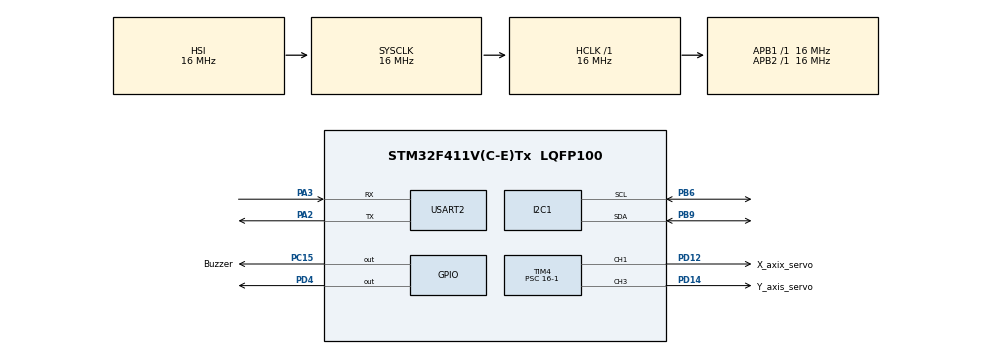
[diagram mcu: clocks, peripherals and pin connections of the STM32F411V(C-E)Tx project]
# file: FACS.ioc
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Mcu.Family=STM32F4
Mcu.Name=STM32F411V(C-E)Tx
Mcu.Package=LQFP100
NVIC.PriorityGroup=NVIC_PRIORITYGROUP_4
PA2.Mode=Asynchronous
PA2.Signal=USART2_TX
PA3.Mode=Asynchronous
PA3.Signal=USART2_RX
PB6.Mode=I2C
PB6.Signal=I2C1_SCL
PB9.Mode=I2C
PB9.Signal=I2C1_SDA
PC15-OSC32_OUT.GPIO_Label=Buzzer
PC15-OSC32_OUT.Signal=GPIO_Output
PD12.GPIO_Label=X_axix_servo
PD12.Signal=S_TIM4_CH1
PD14.GPIO_Label=Y_axis_servo
PD14.Signal=S_TIM4_CH3
PD4.Signal=GPIO_Output
ProjectManager.HeapSize=0x200
ProjectManager.StackSize=0x400
ProjectManager.TargetToolchain=STM32CubeIDE
RCC.AHBFreq_Value=16000000
RCC.APB1Freq_Value=16000000
RCC.APB2Freq_Value=16000000
RCC.CortexFreq_Value=16000000
RCC.HSE_VALUE=25000000
RCC.HSI_VALUE=16000000
RCC.LSE_VALUE=32768
RCC.SYSCLKFreq_VALUE=16000000
RCC.VCOOutputFreq_Value=192000000
SH.S_TIM4_CH1.0=TIM4_CH1,PWM Generation1 CH1
SH.S_TIM4_CH3.0=TIM4_CH3,PWM Generation3 CH3
TIM4.Channel-PWM\ Generation1\ CH1=TIM_CHANNEL_1
TIM4.Channel-PWM\ Generation3\ CH3=TIM_CHANNEL_3
TIM4.Period=20000-1
TIM4.Prescaler=16-1
USART2.VirtualMode=VM_ASYNC
VP_TIM4_VS_ClockSourceINT.Mode=Internal
board=custom

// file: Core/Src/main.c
/* USER CODE BEGIN Header */
/**
  ******************************************************************************
  * @file           : main.c
  * @brief          : Main program body
  ******************************************************************************
  * @attention
  *
  * Copyright (c) 2026 STMicroelectronics.
  * All rights reserved.
  *
  * This software is licensed under terms that can be found in the LICENSE file
  * in the root directory of this software component.
  * If no LICENSE file comes with this software, it is provided AS-IS.
  *
  ******************************************************************************
  */
/* USER CODE END Header */
#include "main.h"

/* USER CODE BEGIN Includes */
#include "servo.h"
#include "sensor.h"
#include "tilt.h"
#include <stdio.h>
#include <math.h>
/* USER CODE END Includes */

I2C_HandleTypeDef hi2c1;

TIM_HandleTypeDef htim4;

UART_HandleTypeDef huart2;

void SystemClock_Config(void);
static void MX_GPIO_Init(void);
static void MX_TIM4_Init(void);
static void MX_USART2_UART_Init(void);
static void MX_I2C1_Init(void);

/* USER CODE BEGIN 0 */
typedef enum {
	STATE_INIT,
	STATE_CALIBRATE,
	STATE_RUN,
	STATE_ERROR
} SystemState_t;
/* USER CODE END 0 */

int main(void)
{

  /* MCU Configuration--------------------------------------------------------*/

  /* Reset of all peripherals, Initializes the Flash interface and the Systick. */
  HAL_Init();

  /* Configure the system clock */
  SystemClock_Config();

  /* Initialize all configured peripherals */
  MX_GPIO_Init();
  MX_TIM4_Init();
  MX_USART2_UART_Init();
  MX_I2C1_Init();

  /* USER CODE BEGIN 2 */
  HAL_TIM_PWM_Start(&htim4, TIM_CHANNEL_1); // PWM signal enable on pin PD12
  HAL_TIM_PWM_Start(&htim4, TIM_CHANNEL_3); // PWM signal enable on pin PD14

  HAL_GPIO_WritePin(GPIOD, GPIO_PIN_4, GPIO_PIN_RESET); // Keep reset audio peripherals on I2C1 line
  HAL_Delay(100);
  HAL_GPIO_WritePin(GPIOC, GPIO_PIN_15, GPIO_PIN_RESET);

  SystemState_t currentState = STATE_INIT;
  float offset_pitch = 0.0f;
  float offset_roll = 0.0f;

  int16_t ax, ay, az;

  /* USER CODE END 2 */

  /* Infinite loop */
  /* USER CODE BEGIN WHILE */

  while (1)
  {
	 switch (currentState){
	 case STATE_INIT:

		 HAL_GPIO_WritePin(GPIOC, GPIO_PIN_15, GPIO_PIN_SET);
		 HAL_Delay(250);
		 HAL_GPIO_WritePin(GPIOC, GPIO_PIN_15, GPIO_PIN_RESET);
		 HAL_Delay(250);
		 HAL_GPIO_WritePin(GPIOC, GPIO_PIN_15, GPIO_PIN_SET);
		 HAL_Delay(250);
		 HAL_GPIO_WritePin(GPIOC, GPIO_PIN_15, GPIO_PIN_RESET);
		 HAL_Delay(200);

		 if (SensorInit() == 0){
			 currentState = STATE_CALIBRATE;
		 } else {
			 currentState = STATE_ERROR;
		 }
		 HAL_Delay(50);
		 break;

	 case STATE_CALIBRATE:
		 HAL_Delay(2000);

		 HAL_GPIO_WritePin(GPIOC, GPIO_PIN_15, GPIO_PIN_SET);
		 HAL_Delay(250);
		 HAL_GPIO_WritePin(GPIOC, GPIO_PIN_15, GPIO_PIN_RESET);
		 HAL_Delay(250);
		 HAL_GPIO_WritePin(GPIOC, GPIO_PIN_15, GPIO_PIN_SET);
		 HAL_Delay(250);
		 HAL_GPIO_WritePin(GPIOC, GPIO_PIN_15, GPIO_PIN_RESET);
		 HAL_Delay(250);
		 HAL_GPIO_WritePin(GPIOC, GPIO_PIN_15, GPIO_PIN_SET);
		 HAL_Delay(250);
		 HAL_GPIO_WritePin(GPIOC, GPIO_PIN_15, GPIO_PIN_RESET);
		 HAL_Delay(250);

		 SetServoAngle(AXIS_X, 90.0f);
		 SetServoAngle(AXIS_Y, 90.0f);
		 HAL_Delay(2000);

		 float sum_x = 0, sum_y = 0;
		 int samples = 50;

		 for (int i = 0; i < samples; i++){
			 if (SensorReadAccel(&ax, &ay, &az) == 0){
				 sum_x += atan2(ax, sqrt(ay*ay + az*az)) * 180.0f / M_PI;
				 sum_y += atan2(ay, sqrt(ax*ax + az*az)) * 180.0f / M_PI;
			 }
			 HAL_Delay(50);
		 }
		 offset_pitch = sum_x / samples;
		 offset_roll = sum_y / samples;

		 currentState = STATE_RUN;

		 HAL_GPIO_WritePin(GPIOC, GPIO_PIN_15, GPIO_PIN_SET);
		 HAL_Delay(1500);
		 HAL_GPIO_WritePin(GPIOC, GPIO_PIN_15, GPIO_PIN_RESET);
		 break;

	 case STATE_RUN:

		 if (SensorReadAccel(&ax, &ay, &az) == 0){
			 uint8_t servo_pos_x = TiltCalculateServoX(ax, ay, az, offset_pitch);
			 uint8_t servo_pos_y = TiltCalculateServoY(ax, ay, az, offset_roll);

			 SetServoAngle(AXIS_X, servo_pos_x);
			 SetServoAngle(AXIS_Y, servo_pos_y);

			 HAL_Delay(20);
		 } else {
			 currentState = STATE_ERROR;
		 }
		 break;

	 case STATE_ERROR:

		 SetServoAngle(AXIS_X, 90.0f);
		 SetServoAngle(AXIS_Y, 90.0f);

		 HAL_GPIO_WritePin(GPIOC, GPIO_PIN_15, GPIO_PIN_SET);
		 HAL_Delay(100);
		 HAL_GPIO_WritePin(GPIOC, GPIO_PIN_15, GPIO_PIN_RESET);
		 HAL_Delay(100);

		 currentState = STATE_INIT;
		 break;
	 }

    /* USER CODE END WHILE */

  }
}

void SystemClock_Config(void)
{
  RCC_OscInitTypeDef RCC_OscInitStruct = {0};
  RCC_ClkInitTypeDef RCC_ClkInitStruct = {0};

  /** Configure the main internal regulator output voltage
  */
  __HAL_RCC_PWR_CLK_ENABLE();
  __HAL_PWR_VOLTAGESCALING_CONFIG(PWR_REGULATOR_VOLTAGE_SCALE1);

  /** Initializes the RCC Oscillators according to the specified parameters
  * in the RCC_OscInitTypeDef structure.
  */
  RCC_OscInitStruct.OscillatorType = RCC_OSCILLATORTYPE_HSI;
  RCC_OscInitStruct.HSIState = RCC_HSI_ON;
  RCC_OscInitStruct.HSICalibrationValue = RCC_HSICALIBRATION_DEFAULT;
  RCC_OscInitStruct.PLL.PLLState = RCC_PLL_NONE;
  if (HAL_RCC_OscConfig(&RCC_OscInitStruct) != HAL_OK)
  {
    Error_Handler();
  }

  /** Initializes the CPU, AHB and APB buses clocks
  */
  RCC_ClkInitStruct.ClockType = RCC_CLOCKTYPE_HCLK|RCC_CLOCKTYPE_SYSCLK
                              |RCC_CLOCKTYPE_PCLK1|RCC_CLOCKTYPE_PCLK2;
  RCC_ClkInitStruct.SYSCLKSource = RCC_SYSCLKSOURCE_HSI;
  RCC_ClkInitStruct.AHBCLKDivider = RCC_SYSCLK_DIV1;
  RCC_ClkInitStruct.APB1CLKDivider = RCC_HCLK_DIV1;
  RCC_ClkInitStruct.APB2CLKDivider = RCC_HCLK_DIV1;

  if (HAL_RCC_ClockConfig(&RCC_ClkInitStruct, FLASH_LATENCY_0) != HAL_OK)
  {
    Error_Handler();
  }
}

static void MX_I2C1_Init(void)
{

  hi2c1.Instance = I2C1;
  hi2c1.Init.ClockSpeed = 100000;
  hi2c1.Init.DutyCycle = I2C_DUTYCYCLE_2;
  hi2c1.Init.OwnAddress1 = 0;
  hi2c1.Init.AddressingMode = I2C_ADDRESSINGMODE_7BIT;
  hi2c1.Init.DualAddressMode = I2C_DUALADDRESS_DISABLE;
  hi2c1.Init.OwnAddress2 = 0;
  hi2c1.Init.GeneralCallMode = I2C_GENERALCALL_DISABLE;
  hi2c1.Init.NoStretchMode = I2C_NOSTRETCH_DISABLE;
  if (HAL_I2C_Init(&hi2c1) != HAL_OK)
  {
    Error_Handler();
  }

}

static void MX_TIM4_Init(void)
{

  TIM_ClockConfigTypeDef sClockSourceConfig = {0};
  TIM_MasterConfigTypeDef sMasterConfig = {0};
  TIM_OC_InitTypeDef sConfigOC = {0};

  htim4.Instance = TIM4;
  htim4.Init.Prescaler = 16-1;
  htim4.Init.CounterMode = TIM_COUNTERMODE_UP;
  htim4.Init.Period = 20000-1;
  htim4.Init.ClockDivision = TIM_CLOCKDIVISION_DIV1;
  htim4.Init.AutoReloadPreload = TIM_AUTORELOAD_PRELOAD_DISABLE;
  if (HAL_TIM_Base_Init(&htim4) != HAL_OK)
  {
    Error_Handler();
  }
  sClockSourceConfig.ClockSource = TIM_CLOCKSOURCE_INTERNAL;
  if (HAL_TIM_ConfigClockSource(&htim4, &sClockSourceConfig) != HAL_OK)
  {
    Error_Handler();
  }
  if (HAL_TIM_PWM_Init(&htim4) != HAL_OK)
  {
    Error_Handler();
  }
  sMasterConfig.MasterOutputTrigger = TIM_TRGO_RESET;
  sMasterConfig.MasterSlaveMode = TIM_MASTERSLAVEMODE_DISABLE;
  if (HAL_TIMEx_MasterConfigSynchronization(&htim4, &sMasterConfig) != HAL_OK)
  {
    Error_Handler();
  }
  sConfigOC.OCMode = TIM_OCMODE_PWM1;
  sConfigOC.Pulse = 0;
  sConfigOC.OCPolarity = TIM_OCPOLARITY_HIGH;
  sConfigOC.OCFastMode = TIM_OCFAST_DISABLE;
  if (HAL_TIM_PWM_ConfigChannel(&htim4, &sConfigOC, TIM_CHANNEL_1) != HAL_OK)
  {
    Error_Handler();
  }
  if (HAL_TIM_PWM_ConfigChannel(&htim4, &sConfigOC, TIM_CHANNEL_3) != HAL_OK)
  {
    Error_Handler();
  }
  HAL_TIM_MspPostInit(&htim4);

}

static void MX_USART2_UART_Init(void)
{

  huart2.Instance = USART2;
  huart2.Init.BaudRate = 115200;
  huart2.Init.WordLength = UART_WORDLENGTH_8B;
  huart2.Init.StopBits = UART_STOPBITS_1;
  huart2.Init.Parity = UART_PARITY_NONE;
  huart2.Init.Mode = UART_MODE_TX_RX;
  huart2.Init.HwFlowCtl = UART_HWCONTROL_NONE;
  huart2.Init.OverSampling = UART_OVERSAMPLING_16;
  if (HAL_UART_Init(&huart2) != HAL_OK)
  {
    Error_Handler();
  }

}

static void MX_GPIO_Init(void)
{
  GPIO_InitTypeDef GPIO_InitStruct = {0};

  /* GPIO Ports Clock Enable */
  __HAL_RCC_GPIOC_CLK_ENABLE();
  __HAL_RCC_GPIOA_CLK_ENABLE();
  __HAL_RCC_GPIOD_CLK_ENABLE();
  __HAL_RCC_GPIOB_CLK_ENABLE();

  /*Configure GPIO pin Output Level */
  HAL_GPIO_WritePin(Buzzer_GPIO_Port, Buzzer_Pin, GPIO_PIN_RESET);

  /*Configure GPIO pin Output Level */
  HAL_GPIO_WritePin(GPIOD, GPIO_PIN_4, GPIO_PIN_RESET);

  /*Configure GPIO pin : Buzzer_Pin */
  GPIO_InitStruct.Pin = Buzzer_Pin;
  GPIO_InitStruct.Mode = GPIO_MODE_OUTPUT_PP;
  GPIO_InitStruct.Pull = GPIO_NOPULL;
  GPIO_InitStruct.Speed = GPIO_SPEED_FREQ_LOW;
  HAL_GPIO_Init(Buzzer_GPIO_Port, &GPIO_InitStruct);

  /*Configure GPIO pin : PD4 */
  GPIO_InitStruct.Pin = GPIO_PIN_4;
  GPIO_InitStruct.Mode = GPIO_MODE_OUTPUT_PP;
  GPIO_InitStruct.Pull = GPIO_NOPULL;
  GPIO_InitStruct.Speed = GPIO_SPEED_FREQ_LOW;
  HAL_GPIO_Init(GPIOD, &GPIO_InitStruct);

}

/* USER CODE BEGIN 4 */

int _write(int file, char *ptr, int len){
	HAL_UART_Transmit(&huart2, (uint8_t*)ptr, len, HAL_MAX_DELAY);
	return len;
}
/* USER CODE END 4 */

void Error_Handler(void)
{
  __disable_irq();
  while (1)
  {
  }
}
